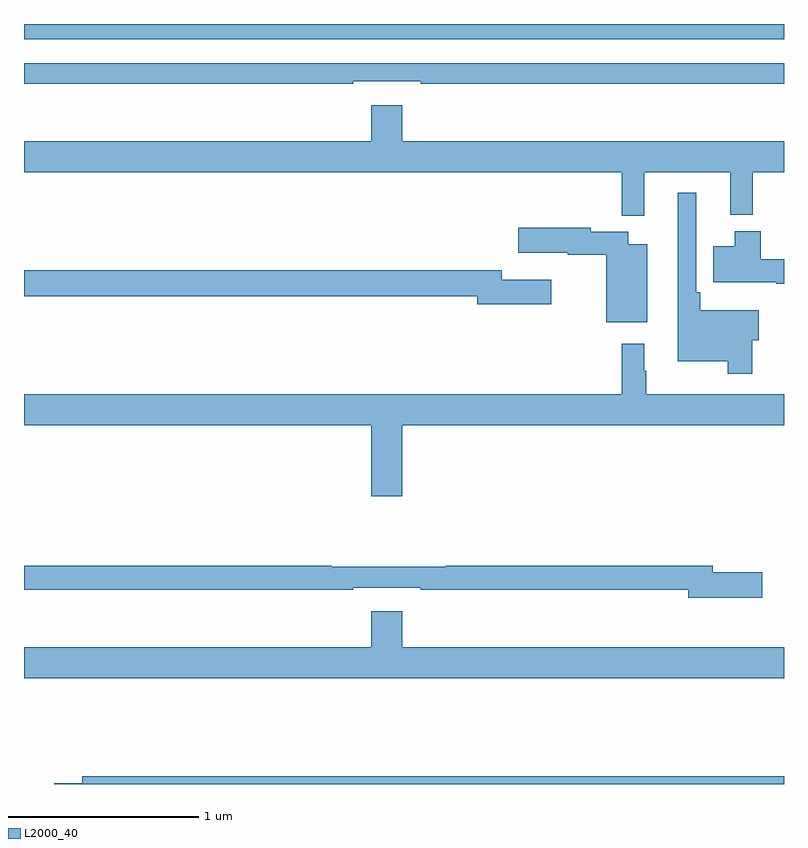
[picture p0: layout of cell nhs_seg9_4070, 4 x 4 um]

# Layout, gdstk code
import gdstk
lib = gdstk.Library(unit=1e-6, precision=1e-09)
def R(c, l, rs):  # rectangles x0, y0, x1, y1
    for r in rs: c.add(gdstk.rectangle(r[:2], r[2:], *l))
def P(c, l, *ps):  # polygons
    for p in ps: c.add(gdstk.Polygon(p, *l))
L2000_40 = (2000, 40)

nhs_seg9_4070 = lib.new_cell('nhs_seg9_4070')
R(nhs_seg9_4070, L2000_40, [(343,1230.42,347,1230.5)])
P(nhs_seg9_4070, L2000_40, [(344.732,1230.198),(345.088,1230.198),(345.088,1230.186),(347,1230.186),(347,1230.294),(343,1230.294),(343,1230.186),(344.732,1230.186)],
  [(346.265,1229.72),(346.718,1229.72),(346.718,1229.495),(346.835,1229.495),(346.835,1229.72),(347,1229.72),(347,1229.884),(344.992,1229.884),(344.992,1230.073),(344.828,1230.073),(344.828,1229.884),(343,1229.884),(343,1229.72),(346.147,1229.72),(346.147,1229.492),(346.265,1229.492)],
  [(346.832,1228.835),(346.867,1228.835),(346.867,1228.993),(346.559,1228.993),(346.559,1229.089),(346.539,1229.089),(346.539,1229.611),(346.442,1229.611),(346.442,1228.724),(346.704,1228.724),(346.704,1228.659),(346.832,1228.659)],
  [(346.279,1229.341),(346.18,1229.341),(346.18,1229.407),(345.984,1229.407),(345.984,1229.427),(345.6,1229.427),(345.6,1229.297),(345.862,1229.297),(345.862,1229.285),(346.064,1229.285),(346.064,1228.931),(346.279,1228.931)],
  [(347,1229.263),(346.877,1229.263),(346.877,1229.41),(346.742,1229.41),(346.742,1229.329),(346.628,1229.329),(346.628,1229.141),(346.96,1229.141),(346.96,1229.134),(347,1229.134)],
  [(345.775,1229.155),(345.514,1229.155),(345.514,1229.204),(343,1229.204),(343,1229.068),(345.386,1229.068),(345.386,1229.026),(345.775,1229.026)],
  [(344.992,1228.388),(347,1228.388),(347,1228.552),(346.276,1228.552),(346.276,1228.676),(346.264,1228.676),(346.264,1228.816),(346.147,1228.816),(346.147,1228.552),(343,1228.552),(343,1228.388),(344.828,1228.388),(344.828,1228.014),(344.992,1228.014)],
  [(346.885,1227.614),(346.624,1227.614),(346.624,1227.65),(345.22,1227.65),(345.22,1227.643),(344.62,1227.643),(344.62,1227.65),(343,1227.65),(343,1227.522),(344.732,1227.522),(344.732,1227.534),(345.088,1227.534),(345.088,1227.522),(346.496,1227.522),(346.496,1227.479),(346.885,1227.479)],
  [(347,1227.22),(344.992,1227.22),(344.992,1227.409),(344.828,1227.409),(344.828,1227.22),(343,1227.22),(343,1227.056),(347,1227.056)],
  [(347,1226.54),(343.307,1226.54),(343.307,1226.504),(343.158,1226.504),(343.158,1226.5),(347,1226.5)])

lib.write_gds('nhs_seg9_4070.gds')
